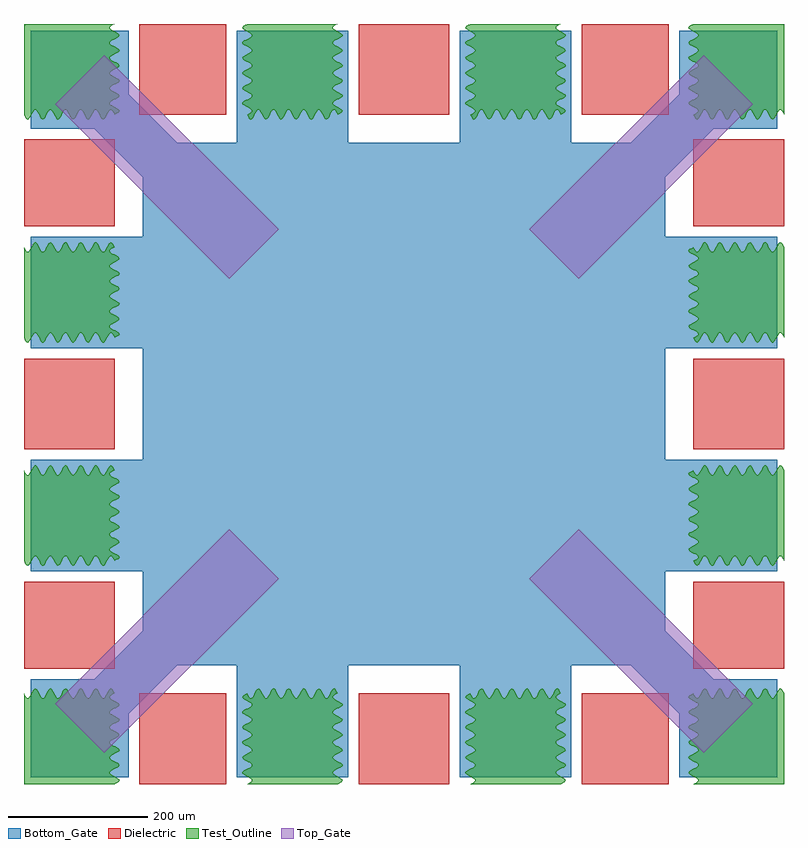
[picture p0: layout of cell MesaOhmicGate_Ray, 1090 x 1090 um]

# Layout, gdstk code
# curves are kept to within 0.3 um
from math import pi, radians
import gdstk
lib = gdstk.Library(unit=1e-6, precision=1e-09)
def R(c, l, rs):  # rectangles x0, y0, x1, y1
    for r in rs: c.add(gdstk.rectangle(r[:2], r[2:], *l))
def P(c, l, *ps):  # polygons
    for p in ps: c.add(gdstk.Polygon(p, *l))
Bottom_Gate = (2, 0)
Test_Outline = (3, 0)
Dielectric = (4, 0)
Top_Gate = (5, 0)

singleohmiccontact_2 = lib.new_cell('SingleOhmicContact$2')
P(singleohmiccontact_2, Test_Outline, [(-65,-65),(-65,65),(-62.374,60.169),(-61.061,58.633),(-59.747,58.008),(-58.434,58.385),(-55.808,61.792),(-50.556,71.062),(-49.242,71.929),(-47.929,71.803),(-45.303,68.784),(-40.051,59.298),(-38.737,58.197),(-37.424,58.071),(-36.111,58.938),(-34.798,60.673),(-29.545,70.29),(-28.232,71.615),(-26.919,71.992),(-25.606,71.367),(-24.293,69.831),(-19.04,60.169),(-17.727,58.633),(-16.414,58.008),(-15.101,58.385),(-13.788,59.71),(-7.222,71.062),(-5.909,71.929),(-4.596,71.803),(-1.97,68.784),(3.283,59.298),(4.596,58.197),(5.909,58.071),(7.222,58.938),(8.535,60.673),(13.788,70.29),(15.101,71.615),(16.414,71.992),(17.727,71.367),(19.04,69.831),(24.293,60.169),(25.606,58.633),(26.919,58.008),(28.232,58.385),(29.545,59.71),(34.798,69.327),(36.111,71.062),(37.424,71.929),(38.737,71.803),(40.051,70.702),(46.616,59.298),(47.929,58.197),(49.242,58.071),(50.556,58.938),(51.869,60.673),(57.121,70.29),(58.434,71.615),(59.747,71.992),(61.061,71.367),(62.374,69.831),(65,65),(60.169,62.374),(58.633,61.061),(58.008,59.747),(58.385,58.434),(61.792,55.808),(69.327,51.869),(71.062,50.556),(71.929,49.242),(71.803,47.929),(70.702,46.616),(59.298,40.051),(58.197,38.737),(58.071,37.424),(58.938,36.111),(60.673,34.798),(70.29,29.545),(71.615,28.232),(71.992,26.919),(71.367,25.606),(69.831,24.293),(60.169,19.04),(58.633,17.727),(58.008,16.414),(58.385,15.101),(59.71,13.788),(69.327,8.535),(71.062,7.222),(71.929,5.909),(71.803,4.596),(70.702,3.283),(59.298,-3.283),(58.197,-4.596),(58.071,-5.909),(58.938,-7.222),(60.673,-8.535),(70.29,-13.788),(71.615,-15.101),(71.992,-16.414),(71.367,-17.727),(69.831,-19.04),(60.169,-24.293),(58.633,-25.606),(58.008,-26.919),(58.385,-28.232),(59.71,-29.545),(69.327,-34.798),(71.062,-36.111),(71.929,-37.424),(71.803,-38.737),(70.702,-40.051),(59.298,-46.616),(58.197,-47.929),(58.071,-49.242),(58.938,-50.556),(60.673,-51.869),(70.29,-57.121),(71.615,-58.434),(71.992,-59.747),(71.367,-61.061),(69.831,-62.374),(65,-65)])

diaggatepad = lib.new_cell('DiagGatePad')
R(diaggatepad, Dielectric, [(-62.5,-65,62.5,65)])

diagohmicmesa = lib.new_cell('DiagOhmicMesa')
R(diagohmicmesa, Bottom_Gate, [(-70,-70,70,70)])
diagohmicmesa.add(gdstk.FlexPath([(0,0),(250,250)], 70, ends="flush", simple_path=True, layer=2, datatype=0))  # Bottom_Gate
diagohmicmesa.add(gdstk.FlexPath([(0,0),(250,250)], 100, ends="flush", simple_path=True, layer=5, datatype=0))  # Top_Gate
diagohmicmesa.add(gdstk.Reference(singleohmiccontact_2, (-15,-15)))
diagohmicmesa.add(gdstk.Reference(diaggatepad, (-15,147.5), rotation=pi/2))
diagohmicmesa.add(gdstk.Reference(diaggatepad, (147.5,-15)))

singleohmiccontact_1 = lib.new_cell('SingleOhmicContact$1')
P(singleohmiccontact_1, Test_Outline, [(-59.747,-71.992),(-61.061,-71.367),(-62.374,-69.831),(-65,-65),(-60.169,-62.374),(-58.633,-61.061),(-58.008,-59.747),(-58.385,-58.434),(-61.792,-55.808),(-69.327,-51.869),(-71.062,-50.556),(-71.929,-49.242),(-71.803,-47.929),(-70.702,-46.616),(-59.298,-40.051),(-58.197,-38.737),(-58.071,-37.424),(-58.938,-36.111),(-60.673,-34.798),(-70.29,-29.545),(-71.615,-28.232),(-71.992,-26.919),(-71.367,-25.606),(-69.831,-24.293),(-60.169,-19.04),(-58.633,-17.727),(-58.008,-16.414),(-58.385,-15.101),(-59.71,-13.788),(-69.327,-8.535),(-71.062,-7.222),(-71.929,-5.909),(-71.803,-4.596),(-70.702,-3.283),(-59.298,3.283),(-58.197,4.596),(-58.071,5.909),(-58.938,7.222),(-60.673,8.535),(-70.29,13.788),(-71.615,15.101),(-71.992,16.414),(-71.367,17.727),(-69.831,19.04),(-60.169,24.293),(-58.633,25.606),(-58.008,26.919),(-58.385,28.232),(-59.71,29.545),(-69.327,34.798),(-71.062,36.111),(-71.929,37.424),(-71.803,38.737),(-70.702,40.051),(-59.298,46.616),(-58.197,47.929),(-58.071,49.242),(-58.938,50.556),(-60.673,51.869),(-70.29,57.121),(-71.615,58.434),(-71.992,59.747),(-71.367,61.061),(-69.831,62.374),(-65,65),(65,65),(60.169,62.374),(58.633,61.061),(58.008,59.747),(58.385,58.434),(61.792,55.808),(71.062,50.556),(71.929,49.242),(71.803,47.929),(68.784,45.303),(59.298,40.051),(58.197,38.737),(58.071,37.424),(58.938,36.111),(60.673,34.798),(70.29,29.545),(71.615,28.232),(71.992,26.919),(71.367,25.606),(69.831,24.293),(60.169,19.04),(58.633,17.727),(58.008,16.414),(58.385,15.101),(59.71,13.788),(71.062,7.222),(71.929,5.909),(71.803,4.596),(68.784,1.97),(59.298,-3.283),(58.197,-4.596),(58.071,-5.909),(58.938,-7.222),(60.673,-8.535),(70.29,-13.788),(71.615,-15.101),(71.992,-16.414),(71.367,-17.727),(69.831,-19.04),(60.169,-24.293),(58.633,-25.606),(58.008,-26.919),(58.385,-28.232),(59.71,-29.545),(69.327,-34.798),(71.062,-36.111),(71.929,-37.424),(71.803,-38.737),(70.702,-40.051),(59.298,-46.616),(58.197,-47.929),(58.071,-49.242),(58.938,-50.556),(60.673,-51.869),(70.29,-57.121),(71.615,-58.434),(71.992,-59.747),(71.367,-61.061),(69.831,-62.374),(65,-65),(62.374,-60.169),(61.061,-58.633),(59.747,-58.008),(58.434,-58.385),(55.808,-61.792),(51.869,-69.327),(50.556,-71.062),(49.242,-71.929),(47.929,-71.803),(46.616,-70.702),(40.051,-59.298),(38.737,-58.197),(37.424,-58.071),(36.111,-58.938),(34.798,-60.673),(29.545,-70.29),(28.232,-71.615),(26.919,-71.992),(25.606,-71.367),(24.293,-69.831),(19.04,-60.169),(17.727,-58.633),(16.414,-58.008),(15.101,-58.385),(13.788,-59.71),(8.535,-69.327),(7.222,-71.062),(5.909,-71.929),(4.596,-71.803),(3.283,-70.702),(-3.283,-59.298),(-4.596,-58.197),(-5.909,-58.071),(-7.222,-58.938),(-8.535,-60.673),(-13.788,-70.29),(-15.101,-71.615),(-16.414,-71.992),(-17.727,-71.367),(-19.04,-69.831),(-24.293,-60.169),(-25.606,-58.633),(-26.919,-58.008),(-28.232,-58.385),(-29.545,-59.71),(-34.798,-69.327),(-36.111,-71.062),(-37.424,-71.929),(-38.737,-71.803),(-40.051,-70.702),(-46.616,-59.298),(-47.929,-58.197),(-49.242,-58.071),(-50.556,-58.938),(-51.869,-60.673),(-57.121,-70.29),(-58.434,-71.615)])

ohmicmesa = lib.new_cell('OhmicMesa')
R(ohmicmesa, Bottom_Gate, [(-80,-80,80,80)])
ohmicmesa.add(gdstk.Reference(singleohmiccontact_1, (0,25)))

squaregatepad = lib.new_cell('SquareGatePad')
R(squaregatepad, Dielectric, [(-65,-65,65,65)])

mesaohmicgate_ray = lib.new_cell('MesaOhmicGate_Ray')
R(mesaohmicgate_ray, Bottom_Gate, [(-375,-375,375,375)])
P(mesaohmicgate_ray, Dielectric, [(-491.375,309),(-491.375,309),(-491.375,309),(-491.375,309)])
mesaohmicgate_ray.add(gdstk.Reference(diagohmicmesa, (-465,465), rotation=3*pi/2))
r = gdstk.Reference(diaggatepad, (-317.5,-480)); r.repetition = gdstk.Repetition(2, 2, v1=(635,0), v2=(0,960)); mesaohmicgate_ray.add(r)
r = gdstk.Reference(diaggatepad, (480,-317.5), rotation=pi/2); r.repetition = gdstk.Repetition(2, 2, v1=(0,635), v2=(-960,0)); mesaohmicgate_ray.add(r)
mesaohmicgate_ray.add(gdstk.Reference(ohmicmesa, (-160,455)))
mesaohmicgate_ray.add(gdstk.Reference(ohmicmesa, (-160,-455), rotation=pi))
r = gdstk.Reference(squaregatepad, (-480,0)); r.repetition = gdstk.Repetition(2, 2, v1=(480,480), v2=(480,-480)); mesaohmicgate_ray.add(r)
mesaohmicgate_ray.add(gdstk.Reference(diagohmicmesa, (465,-465), rotation=pi/2))
mesaohmicgate_ray.add(gdstk.Reference(ohmicmesa, (-455,160), rotation=pi/2))
mesaohmicgate_ray.add(gdstk.Reference(diagohmicmesa, (465,465), rotation=pi))
mesaohmicgate_ray.add(gdstk.Reference(ohmicmesa, (-455,-160), rotation=pi/2))
mesaohmicgate_ray.add(gdstk.Reference(ohmicmesa, (160,455)))
mesaohmicgate_ray.add(gdstk.Reference(diagohmicmesa, (-465,-465)))
mesaohmicgate_ray.add(gdstk.Reference(ohmicmesa, (455,160), rotation=3*pi/2))
mesaohmicgate_ray.add(gdstk.Reference(ohmicmesa, (455,-160), rotation=3*pi/2))
mesaohmicgate_ray.add(gdstk.Reference(ohmicmesa, (160,-455), rotation=pi))

lib.write_gds('MesaOhmicGate_Ray.gds')
